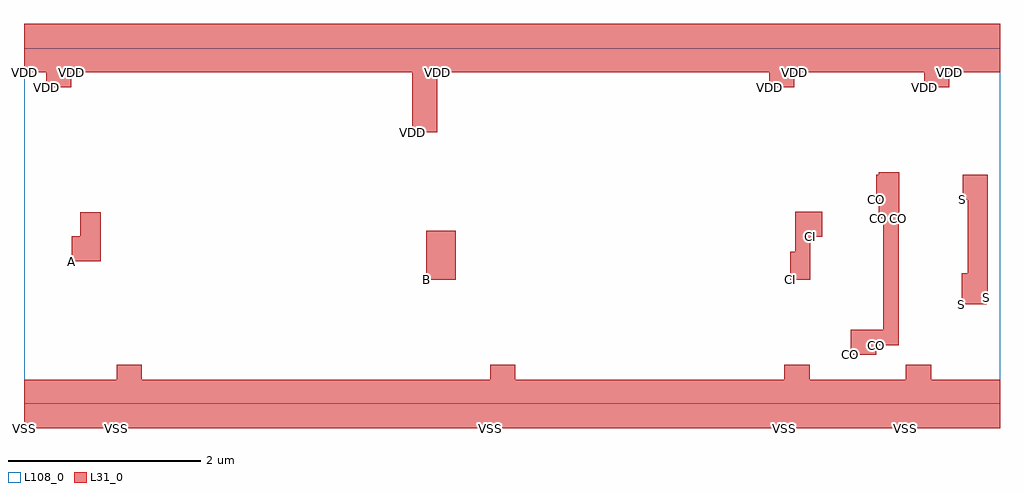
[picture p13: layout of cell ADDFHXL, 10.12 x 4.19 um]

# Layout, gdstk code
import gdstk
lib = gdstk.Library(unit=1e-6, precision=1e-09)
def R(c, l, rs):  # rectangles x0, y0, x1, y1
    for r in rs: c.add(gdstk.rectangle(r[:2], r[2:], *l))
L31_0 = (31, 0)
L108_0 = (108, 0)

addfhxl = lib.new_cell('ADDFHXL')
R(addfhxl, L31_0, [(0,-0.25,0.96,0.25), (0.96,-0.25,1.22,0.405), (1.22,-0.25,4.835,0.25), (4.835,-0.25,5.095,0.405), (5.095,-0.25,7.885,0.25), (7.885,-0.25,8.145,0.405), (8.145,-0.25,9.145,0.25), (9.145,-0.25,9.405,0.405), (9.405,-0.25,10.12,0.25), (8.575,0.51,8.835,0.77), (8.835,0.61,8.91,0.77), (8.91,0.61,9.07,2.4), (9.725,1.035,9.785,1.355), (9.785,1.035,9.985,2.375), (9.985,1.105,9.995,2.375), (4.17,1.29,4.475,1.795), (7.945,1.29,7.995,1.58), (7.995,1.29,8.155,1.995), (0.495,1.48,0.585,1.74), (0.585,1.48,0.795,1.99), (8.155,1.735,8.275,1.995), (8.865,1.925,8.91,2.4), (9.07,1.925,9.075,2.4), (8.835,2.115,8.865,2.375), (9.735,2.115,9.785,2.375), (4.025,2.815,4.285,3.94), (0.23,3.285,0.49,3.94), (7.725,3.285,7.985,3.94), (9.335,3.285,9.595,3.94), (0,3.44,0.23,3.94), (0.49,3.44,4.025,3.94), (4.285,3.44,7.725,3.94), (7.985,3.44,9.335,3.94), (9.595,3.44,10.12,3.94)])
R(addfhxl, L108_0, [(0,0,10.12,3.69)])
addfhxl.add(gdstk.Label('S', (9.735,2.115), layer=131, texttype=0))
addfhxl.add(gdstk.Label('S', (9.725,1.035), layer=131, texttype=0))
addfhxl.add(gdstk.Label('S', (9.785,1.035), layer=131, texttype=0))
addfhxl.add(gdstk.Label('S', (9.985,1.105), layer=131, texttype=0))
addfhxl.add(gdstk.Label('CO', (8.575,0.51), layer=131, texttype=0))
addfhxl.add(gdstk.Label('CO', (8.835,2.115), layer=131, texttype=0))
addfhxl.add(gdstk.Label('CO', (8.865,1.925), layer=131, texttype=0))
addfhxl.add(gdstk.Label('CO', (8.835,0.61), layer=131, texttype=0))
addfhxl.add(gdstk.Label('CO', (8.91,0.61), layer=131, texttype=0))
addfhxl.add(gdstk.Label('CO', (9.07,1.925), layer=131, texttype=0))
addfhxl.add(gdstk.Label('CI', (7.945,1.29), layer=131, texttype=0))
addfhxl.add(gdstk.Label('CI', (7.995,1.29), layer=131, texttype=0))
addfhxl.add(gdstk.Label('CI', (8.155,1.735), layer=131, texttype=0))
addfhxl.add(gdstk.Label('B', (4.17,1.29), layer=131, texttype=0))
addfhxl.add(gdstk.Label('A', (0.495,1.48), layer=131, texttype=0))
addfhxl.add(gdstk.Label('A', (0.585,1.48), layer=131, texttype=0))
addfhxl.add(gdstk.Label('VSS', (0,-0.25), layer=131, texttype=0))
addfhxl.add(gdstk.Label('VSS', (0.96,-0.25), layer=131, texttype=0))
addfhxl.add(gdstk.Label('VSS', (1.22,-0.25), layer=131, texttype=0))
addfhxl.add(gdstk.Label('VSS', (4.835,-0.25), layer=131, texttype=0))
addfhxl.add(gdstk.Label('VSS', (5.095,-0.25), layer=131, texttype=0))
addfhxl.add(gdstk.Label('VSS', (7.885,-0.25), layer=131, texttype=0))
addfhxl.add(gdstk.Label('VSS', (8.145,-0.25), layer=131, texttype=0))
addfhxl.add(gdstk.Label('VSS', (9.145,-0.25), layer=131, texttype=0))
addfhxl.add(gdstk.Label('VSS', (9.405,-0.25), layer=131, texttype=0))
addfhxl.add(gdstk.Label('VDD', (0,3.44), layer=131, texttype=0))
addfhxl.add(gdstk.Label('VDD', (0.23,3.285), layer=131, texttype=0))
addfhxl.add(gdstk.Label('VDD', (0.49,3.44), layer=131, texttype=0))
addfhxl.add(gdstk.Label('VDD', (4.025,2.815), layer=131, texttype=0))
addfhxl.add(gdstk.Label('VDD', (4.285,3.44), layer=131, texttype=0))
addfhxl.add(gdstk.Label('VDD', (7.725,3.285), layer=131, texttype=0))
addfhxl.add(gdstk.Label('VDD', (7.985,3.44), layer=131, texttype=0))
addfhxl.add(gdstk.Label('VDD', (9.335,3.285), layer=131, texttype=0))
addfhxl.add(gdstk.Label('VDD', (9.595,3.44), layer=131, texttype=0))

lib.write_gds('ADDFHXL.gds')
